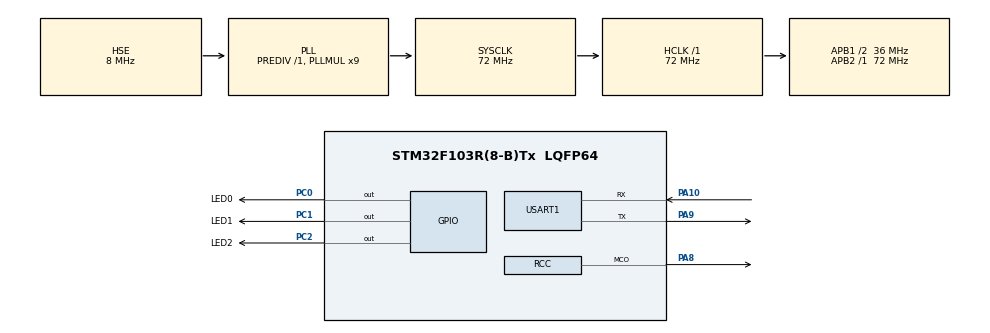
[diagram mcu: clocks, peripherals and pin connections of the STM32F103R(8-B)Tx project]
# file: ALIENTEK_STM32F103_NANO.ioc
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Mcu.Family=STM32F1
Mcu.Name=STM32F103R(8-B)Tx
Mcu.Package=LQFP64
NVIC.PriorityGroup=NVIC_PRIORITYGROUP_4
NVIC.USART1_IRQn=true\:0\:0\:false\:false\:true\:true\:true
PA10.Mode=Asynchronous
PA10.Signal=USART1_RX
PA8.Mode=Clock-out
PA8.Signal=RCC_MCO
PA9.Mode=Asynchronous
PA9.Signal=USART1_TX
PC0.GPIO_Label=LED0
PC0.GPIO_Speed=GPIO_SPEED_FREQ_HIGH
PC0.PinState=GPIO_PIN_SET
PC0.Signal=GPIO_Output
PC1.GPIO_Label=LED1
PC1.GPIO_Speed=GPIO_SPEED_FREQ_HIGH
PC1.PinState=GPIO_PIN_SET
PC1.Signal=GPIO_Output
PC14-OSC32_IN.Mode=LSE-External-Oscillator
PC14-OSC32_IN.Signal=RCC_OSC32_IN
PC15-OSC32_OUT.Mode=LSE-External-Oscillator
PC15-OSC32_OUT.Signal=RCC_OSC32_OUT
PC2.GPIO_Label=LED2
PC2.GPIO_Speed=GPIO_SPEED_FREQ_HIGH
PC2.PinState=GPIO_PIN_SET
PC2.Signal=GPIO_Output
PD0-OSC_IN.Mode=HSE-External-Oscillator
PD0-OSC_IN.Signal=RCC_OSC_IN
PD1-OSC_OUT.Mode=HSE-External-Oscillator
PD1-OSC_OUT.Signal=RCC_OSC_OUT
ProjectManager.HeapSize=0x200
ProjectManager.StackSize=0x400
ProjectManager.TargetToolchain=MDK-ARM V5.27
RCC.AHBFreq_Value=72000000
RCC.APB1CLKDivider=RCC_HCLK_DIV2
RCC.APB1Freq_Value=36000000
RCC.APB1TimFreq_Value=72000000
RCC.APB2Freq_Value=72000000
RCC.APB2TimFreq_Value=72000000
RCC.HCLKFreq_Value=72000000
RCC.PLLMUL=RCC_PLL_MUL9
RCC.PLLSourceVirtual=RCC_PLLSOURCE_HSE
RCC.RCC_MCOSource=RCC_MCO1SOURCE_PLLCLK
RCC.SYSCLKFreq_VALUE=72000000
RCC.SYSCLKSource=RCC_SYSCLKSOURCE_PLLCLK
RCC.USBFreq_Value=72000000
USART1.VirtualMode=VM_ASYNC
VP_SYS_VS_ND.Mode=No_Debug
board=custom

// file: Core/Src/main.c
/* USER CODE BEGIN Header */
/**
  ******************************************************************************
  * @file           : main.c
  * @brief          : Main program body
  ******************************************************************************
  * @attention
  *
  * <h2><center>&copy; Copyright (c) 2021 STMicroelectronics.
  * All rights reserved.</center></h2>
  *
  * This software component is licensed by ST under BSD 3-Clause license,
  * the "License"; You may not use this file except in compliance with the
  * License. You may obtain a copy of the License at:
  *                        opensource.org/licenses/BSD-3-Clause
  *
  ******************************************************************************
  */
/* USER CODE END Header */
#include "main.h"

/* USER CODE BEGIN Includes */
#include "stdio.h"
#include <xd_k.h>
#include <uart.h>
/* USER CODE END Includes */

UART_HandleTypeDef huart1;

void SystemClock_Config(void);
static void MX_GPIO_Init(void);
static void MX_USART1_UART_Init(void);

/* USER CODE BEGIN 0 */
//xd_uint8_t flag1 = 0;
//xd_uint8_t flag2 = 0;
extern xd_list_t xd_task_priority_table[XD_TASK_PRIORITY_MAX];
struct xd_task xd_led0_task;
struct xd_task xd_led1_task;
struct xd_task xd_led2_task;
ALIGN(XD_ALIGN_SIZE)
xd_uint8_t xd_led0_task_stack[512];
xd_uint8_t xd_led1_task_stack[512];
xd_uint8_t xd_led2_task_stack[512];
xd_uint8_t RxBuff[1];

void xd_ms_delay(xd_uint32_t time)
{
		//You need to transplant the function
		HAL_Delay(time);
}

void led0_task_entry(void *p_arg)
{
	for(;;)
	{
		HAL_GPIO_WritePin(GPIOC, LED0_Pin, GPIO_PIN_RESET);
		xd_ms_delay(100);
		HAL_GPIO_WritePin(GPIOC, LED0_Pin, GPIO_PIN_SET);
		xd_ms_delay(100);
	}
}

void led1_task_entry(void *p_arg)
{
	for(;;)
	{
		HAL_GPIO_WritePin(GPIOC, LED1_Pin, GPIO_PIN_RESET);
		xd_ms_delay(200);
		HAL_GPIO_WritePin(GPIOC, LED1_Pin, GPIO_PIN_SET);
		xd_ms_delay(200);
	}
}

void led2_task_entry(void *p_arg)
{
	for(;;)
	{
		HAL_GPIO_WritePin(GPIOC, LED2_Pin, GPIO_PIN_RESET);
		xd_task_delay(200);
		HAL_GPIO_WritePin(GPIOC, LED2_Pin, GPIO_PIN_SET);
		xd_task_delay(200);
	}
}

/* USER CODE END 0 */

int main(void)
{

  /* MCU Configuration--------------------------------------------------------*/

  /* Reset of all peripherals, Initializes the Flash interface and the Systick. */
  HAL_Init();

  /* Configure the system clock */
  SystemClock_Config();

  /* Initialize all configured peripherals */
  MX_GPIO_Init();
  MX_USART1_UART_Init();
  /* USER CODE BEGIN 2 */
	HAL_UART_Receive_IT(&huart1, (xd_uint8_t *)RxBuff, 1); //打开串口中断接收
	xd_interrupt_disable();
	SysTick_Config(SystemCoreClock / XD_TICK_PER_SECOND);
	xd_system_timer_init();
	xd_system_scheduler_init();
	xd_task_idle_init();
  xd_show_logo();
	xd_task_shell_init();
	xd_task_init( 1,
									&xd_led0_task,
									led0_task_entry,
									XD_NULL,
									&xd_led0_task_stack[0],
									sizeof(xd_led0_task_stack),
									2,50);
	xd_task_startup(&xd_led0_task);

	xd_task_init( 2,
									&xd_led1_task,
									led1_task_entry,
									XD_NULL,
									&xd_led1_task_stack[0],
									sizeof(xd_led1_task_stack),
									2,50);
	xd_task_startup(&xd_led1_task);

	xd_task_init( 3,
									&xd_led2_task,
									led2_task_entry,
									XD_NULL,
									&xd_led2_task_stack[0],
									sizeof(xd_led2_task_stack),
									1,0);
	xd_task_startup(&xd_led2_task);
  xd_system_scheduler_start();
  /* USER CODE END 2 */

  /* Infinite loop */
  while (1)
  {

  }
}

void SystemClock_Config(void)
{
  RCC_OscInitTypeDef RCC_OscInitStruct = {0};
  RCC_ClkInitTypeDef RCC_ClkInitStruct = {0};

  /** Initializes the RCC Oscillators according to the specified parameters
  * in the RCC_OscInitTypeDef structure.
  */
  RCC_OscInitStruct.OscillatorType = RCC_OSCILLATORTYPE_HSE;
  RCC_OscInitStruct.HSEState = RCC_HSE_ON;
  RCC_OscInitStruct.HSEPredivValue = RCC_HSE_PREDIV_DIV1;
  RCC_OscInitStruct.HSIState = RCC_HSI_ON;
  RCC_OscInitStruct.PLL.PLLState = RCC_PLL_ON;
  RCC_OscInitStruct.PLL.PLLSource = RCC_PLLSOURCE_HSE;
  RCC_OscInitStruct.PLL.PLLMUL = RCC_PLL_MUL9;
  if (HAL_RCC_OscConfig(&RCC_OscInitStruct) != HAL_OK)
  {
    Error_Handler();
  }
  /** Initializes the CPU, AHB and APB buses clocks
  */
  RCC_ClkInitStruct.ClockType = RCC_CLOCKTYPE_HCLK|RCC_CLOCKTYPE_SYSCLK
                              |RCC_CLOCKTYPE_PCLK1|RCC_CLOCKTYPE_PCLK2;
  RCC_ClkInitStruct.SYSCLKSource = RCC_SYSCLKSOURCE_PLLCLK;
  RCC_ClkInitStruct.AHBCLKDivider = RCC_SYSCLK_DIV1;
  RCC_ClkInitStruct.APB1CLKDivider = RCC_HCLK_DIV2;
  RCC_ClkInitStruct.APB2CLKDivider = RCC_HCLK_DIV1;

  if (HAL_RCC_ClockConfig(&RCC_ClkInitStruct, FLASH_LATENCY_2) != HAL_OK)
  {
    Error_Handler();
  }
  HAL_RCC_MCOConfig(RCC_MCO, RCC_MCO1SOURCE_PLLCLK, RCC_MCODIV_1);
}

static void MX_USART1_UART_Init(void)
{

  huart1.Instance = USART1;
  huart1.Init.BaudRate = 115200;
  huart1.Init.WordLength = UART_WORDLENGTH_8B;
  huart1.Init.StopBits = UART_STOPBITS_1;
  huart1.Init.Parity = UART_PARITY_NONE;
  huart1.Init.Mode = UART_MODE_TX_RX;
  huart1.Init.HwFlowCtl = UART_HWCONTROL_NONE;
  huart1.Init.OverSampling = UART_OVERSAMPLING_16;
  if (HAL_UART_Init(&huart1) != HAL_OK)
  {
    Error_Handler();
  }

}

static void MX_GPIO_Init(void)
{
  GPIO_InitTypeDef GPIO_InitStruct = {0};

  /* GPIO Ports Clock Enable */
  __HAL_RCC_GPIOC_CLK_ENABLE();
  __HAL_RCC_GPIOD_CLK_ENABLE();
  __HAL_RCC_GPIOA_CLK_ENABLE();

  /*Configure GPIO pin Output Level */
  HAL_GPIO_WritePin(GPIOC, LED0_Pin|LED1_Pin|LED2_Pin, GPIO_PIN_SET);

  /*Configure GPIO pins : LED0_Pin LED1_Pin LED2_Pin */
  GPIO_InitStruct.Pin = LED0_Pin|LED1_Pin|LED2_Pin;
  GPIO_InitStruct.Mode = GPIO_MODE_OUTPUT_PP;
  GPIO_InitStruct.Pull = GPIO_NOPULL;
  GPIO_InitStruct.Speed = GPIO_SPEED_FREQ_HIGH;
  HAL_GPIO_Init(GPIOC, &GPIO_InitStruct);

  /*Configure GPIO pin : PA8 */
  GPIO_InitStruct.Pin = GPIO_PIN_8;
  GPIO_InitStruct.Mode = GPIO_MODE_AF_PP;
  GPIO_InitStruct.Speed = GPIO_SPEED_FREQ_LOW;
  HAL_GPIO_Init(GPIOA, &GPIO_InitStruct);

}

void Error_Handler(void)
{
}

/************************ (C) COPYRIGHT STMicroelectronics *****END OF FILE****/
